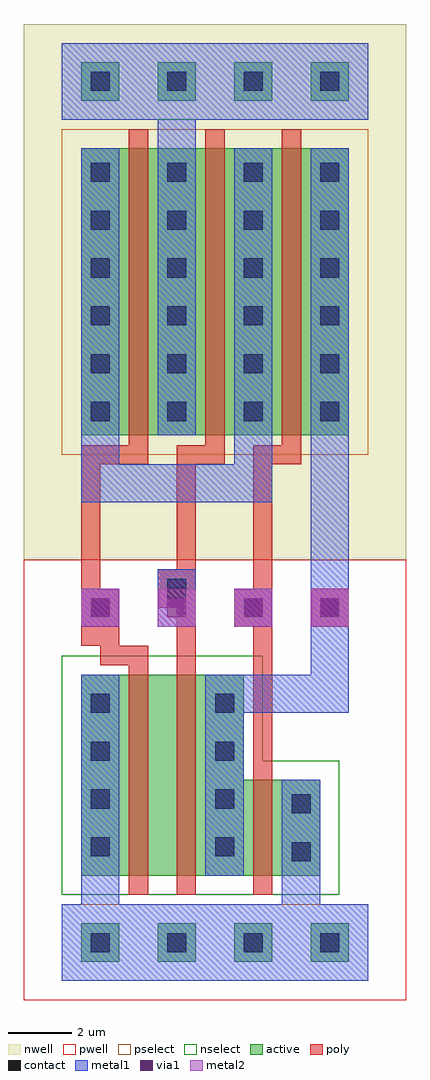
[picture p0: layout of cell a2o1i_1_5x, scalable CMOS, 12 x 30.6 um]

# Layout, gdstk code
import gdstk
lib = gdstk.Library(unit=1e-6, precision=1e-09)
def R(c, l, rs):  # rectangles x0, y0, x1, y1
    for r in rs: c.add(gdstk.rectangle(r[:2], r[2:], *l))
def A(c, l, x, y, w, h, nx, ny, dx, dy):  # array of equal rectangles
    R(c, l, [(x+i*dx, y+j*dy, x+i*dx+w, y+j*dy+h) for i in range(nx) for j in range(ny)])
contact = (25, 0)
pwell = (41, 0)
nwell = (42, 0)
active = (43, 0)
pselect = (44, 0)
nselect = (45, 0)
poly = (46, 0)
metal1 = (49, 0)
via1 = (50, 0)
metal2 = (51, 0)

a2o1i_1_5x = lib.new_cell('a2o1i_1_5x')
A(a2o1i_1_5x, contact, 0.9, -0.3, 0.6, 0.6, 4, 2, 2.4, 16.65)
A(a2o1i_1_5x, contact, 0.9, 2.7, 0.6, 0.6, 1, 4, 0, 1.5)
A(a2o1i_1_5x, contact, 4.8, 2.7, 0.6, 0.6, 1, 4, 0, 1.5)
A(a2o1i_1_5x, contact, 0.9, 17.85, 0.6, 0.6, 4, 5, 2.4, 1.5)
A(a2o1i_1_5x, contact, 0.9, 26.7, 0.6, 0.6, 4, 1, 2.4, 0)
R(a2o1i_1_5x, contact, [(7.2,2.55,7.8,3.15), (7.2,4.05,7.8,4.65), (0.9,10.2,1.5,10.8), (5.7,10.2,6.3,10.8), (8.1,10.2,8.7,10.8), (3.3,10.8,3.9,11.4)])
A(a2o1i_1_5x, pwell, -0.3, -1.5, 3, 3, 4, 1, 2.4, 0)
R(a2o1i_1_5x, pwell, [(-1.2,-1.8,10.8,12), (-1.2,0.3,3.6,10.2), (-0.6,0.3,5.4,10.2), (0.9,0.3,6.9,10.2), (2.7,0.3,7.5,10.2), (3.3,0.3,9.3,6.9), (5.1,0.3,9.9,6.9), (2.775,1.35,7.425,5.85), (5.175,1.35,9.75,5.85), (-1.05,1.95,3.525,6.45), (0.525,1.95,5.775,6.45), (2.775,1.95,7.35,6.45)])
A(a2o1i_1_5x, nwell, -1.2, 14.1, 4.8, 12.6, 4, 1, 2.4, 0)
A(a2o1i_1_5x, nwell, -0.6, 14.1, 6, 12.6, 3, 1, 2.4, 0)
A(a2o1i_1_5x, nwell, -0.3, 25.5, 3, 3, 4, 1, 2.4, 0)
R(a2o1i_1_5x, nwell, [(-1.2,12,10.8,28.8), (-1.05,19.65,3.525,24.15), (1.275,19.65,5.85,24.15), (1.35,19.65,5.925,24.15), (3.675,19.65,8.25,24.15), (3.75,19.65,8.325,24.15), (6.075,19.65,10.65,24.15)])
A(a2o1i_1_5x, active, 0.6, -0.6, 1.2, 1.2, 4, 2, 2.4, 27)
A(a2o1i_1_5x, active, 0.6, 15.9, 1.2, 9, 4, 1, 2.4, 0)
A(a2o1i_1_5x, active, 1.2, 15.9, 2.4, 9, 3, 1, 2.4, 0)
R(a2o1i_1_5x, active, [(0.6,2.1,1.8,8.4), (1.2,2.1,3.6,8.4), (2.7,2.1,5.1,8.4), (4.5,2.1,5.7,8.4), (5.1,2.1,7.5,5.1), (6.9,2.1,8.1,5.1), (4.575,3.15,5.625,4.05), (6.975,3.15,7.95,4.05), (0.75,3.75,1.725,4.65), (2.325,3.75,3.975,4.65), (4.575,3.75,5.55,4.65), (0.75,21.45,1.725,22.35), (3.075,21.45,4.05,22.35), (3.15,21.45,4.125,22.35), (5.475,21.45,6.45,22.35), (5.55,21.45,6.525,22.35), (7.875,21.45,8.85,22.35)])
A(a2o1i_1_5x, pselect, 0, -1.2, 2.4, 2.4, 4, 1, 2.4, 0)
A(a2o1i_1_5x, pselect, 0, 15.3, 2.4, 10.2, 4, 1, 2.4, 0)
A(a2o1i_1_5x, pselect, 0.6, 15.3, 3.6, 10.2, 3, 1, 2.4, 0)
R(a2o1i_1_5x, pselect, [(0.15,20.85,2.325,22.95), (2.475,20.85,4.65,22.95), (2.55,20.85,4.725,22.95), (4.875,20.85,7.05,22.95), (4.95,20.85,7.125,22.95), (7.275,20.85,9.45,22.95)])
A(a2o1i_1_5x, nselect, 0, 25.8, 2.4, 2.4, 4, 1, 2.4, 0)
R(a2o1i_1_5x, nselect, [(0,1.5,2.4,9), (0.6,1.5,4.2,9), (2.1,1.5,5.7,9), (3.9,1.5,6.3,9), (4.5,1.5,8.1,5.7), (6.3,1.5,8.7,5.7), (3.975,2.55,6.225,4.65), (6.375,2.55,8.55,4.65), (0.15,3.15,2.325,5.25), (1.725,3.15,4.575,5.25), (3.975,3.15,6.15,5.25)])
A(a2o1i_1_5x, poly, 2.1, 15.3, 0.6, 10.2, 3, 1, 2.4, 0)
R(a2o1i_1_5x, poly, [(2.1,1.5,2.7,9), (3.6,1.5,4.2,9), (6,1.5,6.6,5.7), (6,5.4,6.6,10.8), (1.2,8.7,2.7,9.3), (1.2,8.7,1.8,9.9), (2.1,8.7,2.7,9.3), (3.6,8.7,4.2,11.4), (0.6,9.3,1.8,9.9), (0.6,9.3,1.2,10.8), (0.6,9.9,1.8,11.1), (5.4,9.9,6.6,11.1), (7.8,9.9,9,11.1), (0.6,10.2,1.5,10.8), (0.6,10.2,1.2,15.6), (5.7,10.2,6.6,10.8), (6,10.2,6.6,15.6), (3,10.5,4.2,11.7), (3.3,10.8,4.2,11.4), (3.6,10.8,4.2,11.4), (3.6,10.8,4.2,15.6), (0.6,15,2.7,15.6), (3.6,15,5.1,15.6), (6,15,7.5,15.6)])
A(a2o1i_1_5x, metal1, 0.6, -0.6, 1.2, 1.2, 4, 2, 2.4, 27)
A(a2o1i_1_5x, metal1, 0.6, 9.9, 1.2, 1.2, 3, 1, 2.4, 0)
A(a2o1i_1_5x, metal1, 0.6, 15.9, 1.2, 9, 4, 1, 2.4, 0)
A(a2o1i_1_5x, metal1, 0, 25.8, 4.8, 2.4, 3, 1, 2.4, 0)
R(a2o1i_1_5x, metal1, [(0,-1.2,4.8,1.2), (0,-1.2,4.8,1.2), (2.4,-1.2,7.2,1.2), (4.8,-1.2,8.7,1.2), (6.3,-1.2,9.6,1.2), (6.3,-1.2,9.6,1.2), (0.6,-0.6,1.8,3.15), (6.9,-0.6,8.1,4.2), (0.75,-0.45,1.65,0.45), (7.95,-0.45,8.85,0.45), (0.6,2.1,1.8,8.4), (4.5,2.1,5.7,8.4), (6.9,2.1,8.1,5.1), (4.5,5.25,5.7,8.4), (4.5,7.2,9,8.4), (7.8,7.2,9,11.1), (4.65,7.35,5.55,8.25), (0.6,9.9,1.8,11.1), (3,9.9,4.2,11.7), (5.4,9.9,6.6,11.1), (5.4,9.9,6.6,11.1), (7.8,9.9,9,11.1), (7.8,9.9,9,11.1), (7.8,9.9,9,11.1), (7.8,9.9,9,16.95), (0.75,10.05,1.65,10.95), (3,10.5,4.2,11.7), (0.6,13.8,1.8,22.5), (0.6,13.8,6.6,15), (5.4,13.8,6.6,19.95), (3,23.85,4.2,27.6), (0,25.8,2.4,28.2), (0,25.8,4.8,28.2), (2.4,25.8,9.6,28.2), (0.6,26.4,1.8,27.6), (7.8,26.4,9,27.6), (0.75,26.55,1.65,27.45)])
A(a2o1i_1_5x, via1, 0.9, 10.2, 0.6, 0.6, 4, 1, 2.4, 0)
A(a2o1i_1_5x, metal2, 0.6, 9.9, 1.2, 1.2, 4, 1, 2.4, 0)

lib.write_gds('a2o1i_1_5x.gds')
